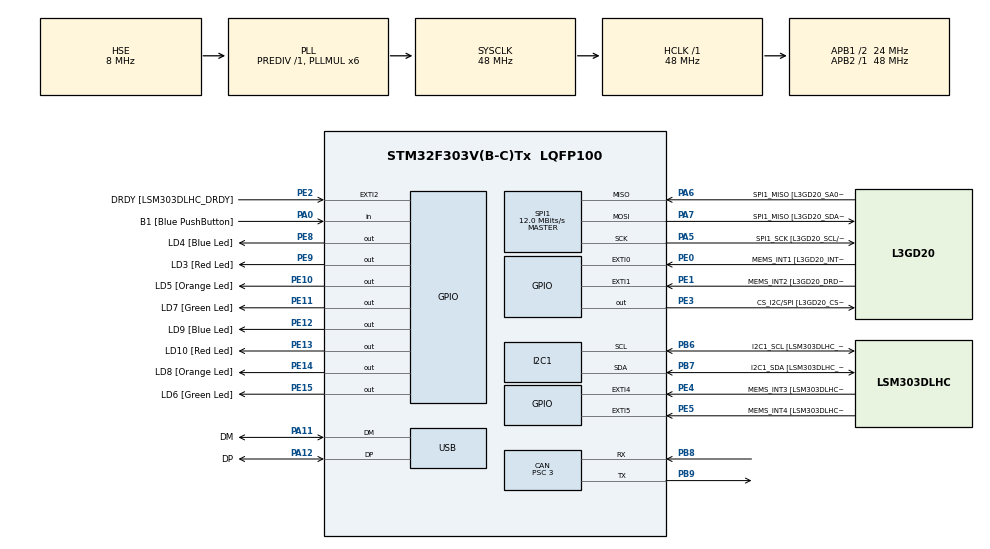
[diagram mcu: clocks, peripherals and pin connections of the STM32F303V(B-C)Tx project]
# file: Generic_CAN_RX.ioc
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CAN.BS1=CAN_BS1_3TQ
CAN.BS2=CAN_BS2_4TQ
CAN.CalculateBaudRate=1000000
CAN.CalculateTimeBit=1000
CAN.CalculateTimeQuantum=125.0
CAN.Prescaler=3
I2C1.Timing-I2C=0x2000090E
Mcu.Family=STM32F3
Mcu.Name=STM32F303V(B-C)Tx
Mcu.Package=LQFP100
NVIC.PriorityGroup=NVIC_PRIORITYGROUP_0
NVIC.USB_LP_CAN_RX0_IRQn=true\:0\:0\:false\:false\:true\:true\:true\:true
PA0.GPIO_Label=B1 [Blue PushButton]
PA0.Signal=GPIO_Input
PA11.GPIO_Label=DM
PA11.Mode=Device
PA11.Signal=USB_DM
PA12.GPIO_Label=DP
PA12.Mode=Device
PA12.Signal=USB_DP
PA13.GPIO_Label=SWDIO
PA13.Mode=Serial_Wire
PA13.Signal=SYS_JTMS-SWDIO
PA14.GPIO_Label=SWCLK
PA14.Mode=Serial_Wire
PA14.Signal=SYS_JTCK-SWCLK
PA5.GPIO_Label=SPI1_SCK [L3GD20_SCL/SPC]
PA5.Mode=Full_Duplex_Master
PA5.Signal=SPI1_SCK
PA6.GPIO_Label=SPI1_MISO [L3GD20_SA0/SDO]
PA6.Mode=Full_Duplex_Master
PA6.Signal=SPI1_MISO
PA7.GPIO_Label=SPI1_MISO [L3GD20_SDA/SDI/SDO]
PA7.Mode=Full_Duplex_Master
PA7.Signal=SPI1_MOSI
PB3.GPIO_Label=SWO
PB3.Signal=SYS_JTDO-TRACESWO
PB6.GPIO_Label=I2C1_SCL [LSM303DLHC_SCL]
PB6.GPIO_Pu=GPIO_PULLUP
PB6.Mode=I2C
PB6.Signal=I2C1_SCL
PB7.GPIO_Label=I2C1_SDA [LSM303DLHC_SDA]
PB7.GPIO_Pu=GPIO_PULLUP
PB7.Mode=I2C
PB7.Signal=I2C1_SDA
PB8.Mode=CAN_Activate
PB8.Signal=CAN_RX
PB9.Mode=CAN_Activate
PB9.Signal=CAN_TX
PC14-OSC32_IN.GPIO_Label=OSC32_IN
PC14-OSC32_IN.Signal=RCC_OSC32_IN
PC15-OSC32_OUT.GPIO_Label=OSC32_OUT
PC15-OSC32_OUT.Signal=RCC_OSC32_OUT
PE0.GPIO_Label=MEMS_INT1 [L3GD20_INT1]
PE0.GPIO_ModeDefaultEXTI=GPIO_MODE_EVT_RISING
PE0.Signal=GPXTI0
PE1.GPIO_Label=MEMS_INT2 [L3GD20_DRDY/INT2]
PE1.GPIO_ModeDefaultEXTI=GPIO_MODE_EVT_RISING
PE1.Signal=GPXTI1
PE10.GPIO_Label=LD5 [Orange Led]
PE10.Signal=GPIO_Output
PE11.GPIO_Label=LD7 [Green Led]
PE11.Signal=GPIO_Output
PE12.GPIO_Label=LD9 [Blue Led]
PE12.Signal=GPIO_Output
PE13.GPIO_Label=LD10 [Red Led]
PE13.Signal=GPIO_Output
PE14.GPIO_Label=LD8 [Orange Led]
PE14.Signal=GPIO_Output
PE15.GPIO_Label=LD6 [Green Led]
PE15.Signal=GPIO_Output
PE2.GPIO_Label=DRDY [LSM303DLHC_DRDY]
PE2.GPIO_ModeDefaultEXTI=GPIO_MODE_EVT_RISING
PE2.Signal=GPXTI2
PE3.GPIO_Label=CS_I2C/SPI [L3GD20_CS_I2C/SPI]
PE3.Signal=GPIO_Output
PE4.GPIO_Label=MEMS_INT3 [LSM303DLHC_INT1]
PE4.GPIO_ModeDefaultEXTI=GPIO_MODE_EVT_RISING
PE4.Signal=GPXTI4
PE5.GPIO_Label=MEMS_INT4 [LSM303DLHC_INT2]
PE5.GPIO_ModeDefaultEXTI=GPIO_MODE_EVT_RISING
PE5.Signal=GPXTI5
PE8.GPIO_Label=LD4 [Blue Led]
PE8.Signal=GPIO_Output
PE9.GPIO_Label=LD3 [Red Led]
PE9.Signal=GPIO_Output
PF0-OSC_IN.GPIO_Label=OSC_IN
PF0-OSC_IN.Mode=HSE-External-Clock-Source
PF0-OSC_IN.Signal=RCC_OSC_IN
PF1-OSC_OUT.GPIO_Label=OSC_OUT
PF1-OSC_OUT.Signal=RCC_OSC_OUT
ProjectManager.HeapSize=0x200
ProjectManager.StackSize=0x400
ProjectManager.TargetToolchain=Makefile
RCC.AHBFreq_Value=48000000
RCC.APB1CLKDivider=RCC_HCLK_DIV2
RCC.APB1Freq_Value=24000000
RCC.APB1TimFreq_Value=48000000
RCC.APB2Freq_Value=48000000
RCC.APB2TimFreq_Value=48000000
RCC.CortexFreq_Value=48000000
RCC.HCLKFreq_Value=48000000
RCC.HSE_VALUE=8000000
RCC.HSI_VALUE=8000000
RCC.LSE_VALUE=32768
RCC.PLLMUL=RCC_PLL_MUL6
RCC.SYSCLKFreq_VALUE=48000000
RCC.SYSCLKSourceVirtual=RCC_SYSCLKSOURCE_PLLCLK
RCC.USBFreq_Value=48000000
SPI1.BaudRatePrescaler=SPI_BAUDRATEPRESCALER_4
SPI1.BaudRatePrescaler-Full_Duplex_Master=SPI_BAUDRATEPRESCALER_2
SPI1.CalculateBaudRate=12.0 MBits/s
SPI1.CalculateBaudRate-Full_Duplex_Master=24.0 MBits/s
SPI1.Direction=SPI_DIRECTION_2LINES
SPI1.Mode=SPI_MODE_MASTER
SPI1.Mode-Full_Duplex_Master=SPI_MODE_MASTER
SPI1.VirtualType=VM_MASTER
board=STM32F3DISCOVERY

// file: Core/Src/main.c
/* USER CODE BEGIN Header */
/**
  ******************************************************************************
  * @file           : main.c
  * @brief          : Main program body
  ******************************************************************************
  * @attention
  *
  * Copyright (c) 2022 STMicroelectronics.
  * All rights reserved.
  *
  * This software is licensed under terms that can be found in the LICENSE file
  * in the root directory of this software component.
  * If no LICENSE file comes with this software, it is provided AS-IS.
  *
  ******************************************************************************
  */
/* USER CODE END Header */
#include "main.h"
#include "can.h"
#include "i2c.h"
#include "spi.h"
#include "gpio.h"

/* USER CODE BEGIN PV */

uint8_t RxData[8];

CAN_RxHeaderTypeDef RxHeader;

int data_check = 0;

/* USER CODE END PV */

void SystemClock_Config(void);

/* USER CODE BEGIN 0 */

void HAL_CAN_RxFifo0MsgPendingCallback(CAN_HandleTypeDef *hcan)
{
  HAL_CAN_GetRxMessage(hcan, CAN_RX_FIFO0, &RxHeader, RxData);
  if(RxHeader.DLC == 2)
  {
    data_check = 1;
  }
}

/* USER CODE END 0 */

int main(void)
{

  /* MCU Configuration--------------------------------------------------------*/

  /* Reset of all peripherals, Initializes the Flash interface and the Systick. */
  HAL_Init();

  /* Configure the system clock */
  SystemClock_Config();

  /* Initialize all configured peripherals */
  MX_GPIO_Init();
  MX_CAN_Init();
  MX_I2C1_Init();
  MX_SPI1_Init();

  /* USER CODE BEGIN 2 */

  HAL_CAN_Start(&hcan);

  HAL_CAN_ActivateNotification(&hcan, CAN_IT_RX_FIFO0_MSG_PENDING);

  /* USER CODE END 2 */

  /* Infinite loop */
  while (1)
  {

    /* USER CODE BEGIN 3 */

    if(data_check)
    {
      for (int i = 0; i < RxData[1]; i++)
      {
        HAL_GPIO_TogglePin(LD3_GPIO_Port, LD3_Pin);
        HAL_GPIO_TogglePin(LD4_GPIO_Port, LD4_Pin);
        HAL_GPIO_TogglePin(LD5_GPIO_Port, LD5_Pin);
        HAL_GPIO_TogglePin(LD6_GPIO_Port, LD6_Pin);
        HAL_GPIO_TogglePin(LD7_GPIO_Port, LD7_Pin);
        HAL_GPIO_TogglePin(LD8_GPIO_Port, LD8_Pin);
        HAL_GPIO_TogglePin(LD9_GPIO_Port, LD9_Pin);
        HAL_GPIO_TogglePin(LD10_GPIO_Port, LD10_Pin);
        HAL_Delay(RxData[0]);
      }
      data_check = 0;
    }
  }
  /* USER CODE END 3 */
}

void SystemClock_Config(void)
{
  RCC_OscInitTypeDef RCC_OscInitStruct = {0};
  RCC_ClkInitTypeDef RCC_ClkInitStruct = {0};
  RCC_PeriphCLKInitTypeDef PeriphClkInit = {0};

  /** Initializes the RCC Oscillators according to the specified parameters
  * in the RCC_OscInitTypeDef structure.
  */
  RCC_OscInitStruct.OscillatorType = RCC_OSCILLATORTYPE_HSI|RCC_OSCILLATORTYPE_HSE;
  RCC_OscInitStruct.HSEState = RCC_HSE_BYPASS;
  RCC_OscInitStruct.HSEPredivValue = RCC_HSE_PREDIV_DIV1;
  RCC_OscInitStruct.HSIState = RCC_HSI_ON;
  RCC_OscInitStruct.HSICalibrationValue = RCC_HSICALIBRATION_DEFAULT;
  RCC_OscInitStruct.PLL.PLLState = RCC_PLL_ON;
  RCC_OscInitStruct.PLL.PLLSource = RCC_PLLSOURCE_HSE;
  RCC_OscInitStruct.PLL.PLLMUL = RCC_PLL_MUL6;
  if (HAL_RCC_OscConfig(&RCC_OscInitStruct) != HAL_OK)
  {
    Error_Handler();
  }

  /** Initializes the CPU, AHB and APB buses clocks
  */
  RCC_ClkInitStruct.ClockType = RCC_CLOCKTYPE_HCLK|RCC_CLOCKTYPE_SYSCLK
                              |RCC_CLOCKTYPE_PCLK1|RCC_CLOCKTYPE_PCLK2;
  RCC_ClkInitStruct.SYSCLKSource = RCC_SYSCLKSOURCE_PLLCLK;
  RCC_ClkInitStruct.AHBCLKDivider = RCC_SYSCLK_DIV1;
  RCC_ClkInitStruct.APB1CLKDivider = RCC_HCLK_DIV2;
  RCC_ClkInitStruct.APB2CLKDivider = RCC_HCLK_DIV1;

  if (HAL_RCC_ClockConfig(&RCC_ClkInitStruct, FLASH_LATENCY_1) != HAL_OK)
  {
    Error_Handler();
  }
  PeriphClkInit.PeriphClockSelection = RCC_PERIPHCLK_USB|RCC_PERIPHCLK_I2C1;
  PeriphClkInit.I2c1ClockSelection = RCC_I2C1CLKSOURCE_HSI;
  PeriphClkInit.USBClockSelection = RCC_USBCLKSOURCE_PLL;
  if (HAL_RCCEx_PeriphCLKConfig(&PeriphClkInit) != HAL_OK)
  {
    Error_Handler();
  }
}

void Error_Handler(void)
{
  __disable_irq();
  while (1)
  {
  }
}
